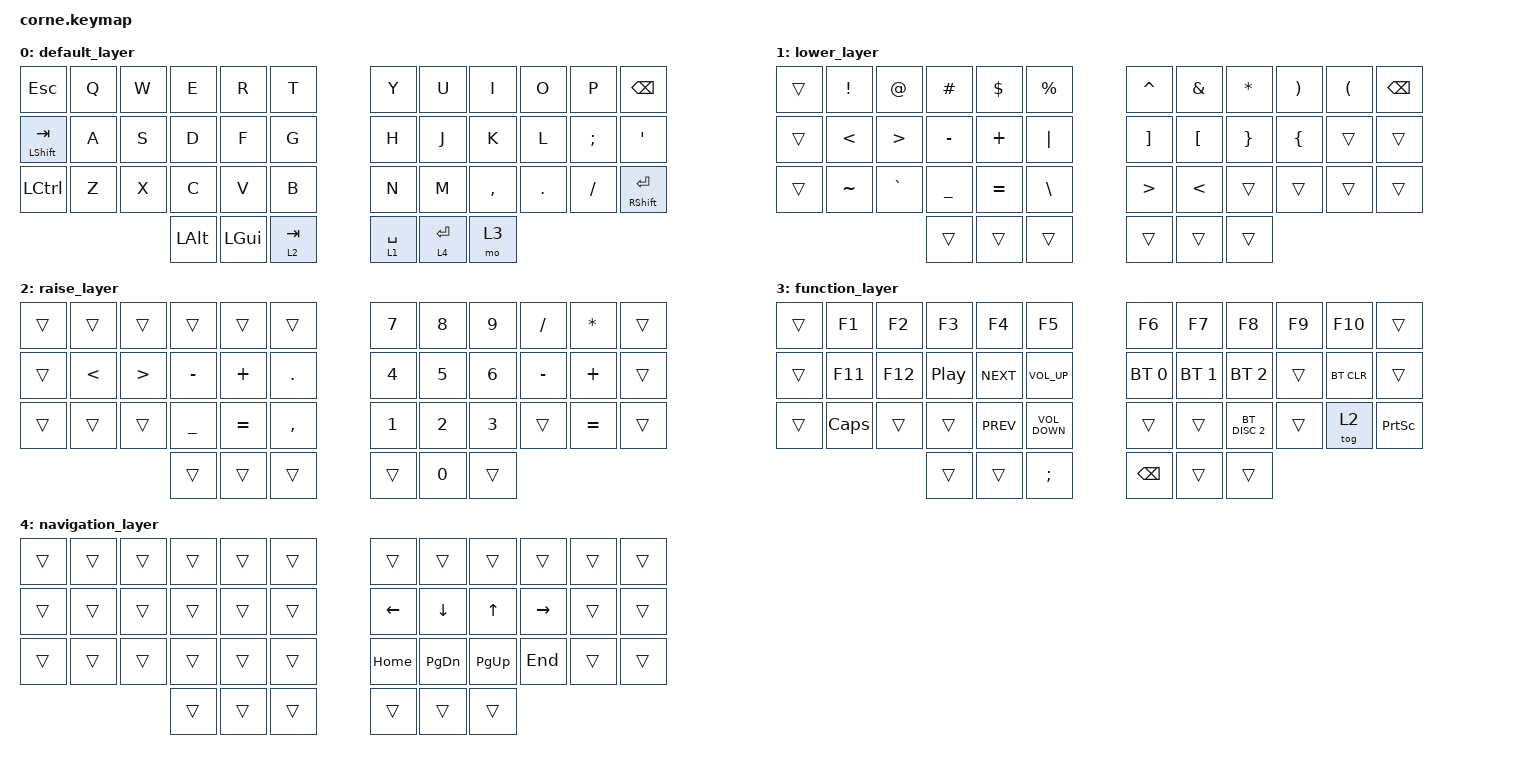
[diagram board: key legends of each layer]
/*
 * Copyright 2024 Michał Minarowski (@n3oney)
 * 
 * Originally created for QMK by Mark Stosberg (@markstos)
 * 
 * SPDX-License-Identifier: GPL-2.0-or-later
 */

#include <behaviors.dtsi>
#include <dt-bindings/zmk/bt.h>
#include <dt-bindings/zmk/keys.h>

&lt { tapping-term-ms = <150>; };

/ {
    combos {
        compatible = "zmk,combos";

        jk_escape {
            bindings = <&kp ESCAPE>;
            key-positions = <19 20>;
        };

        drop_term {
            bindings = <&kp LG(MINUS)>;
            key-positions = <16 15>;
        };
    };

    behaviors {
        quote_alt: quote_alt {
            compatible = "zmk,behavior-hold-tap";
            label = "QUOTE_ALT";
            bindings = <&kp>, <&kp>;

            #binding-cells = <2>;
            flavor = "tap-unless-interrupted";
            tapping-term-ms = <150>;
        };
    };

    keymap {
        compatible = "zmk,keymap";

        default_layer {
            bindings = <
&kp ESCAPE     &kp Q  &kp W  &kp E     &kp R         &kp T        &kp Y        &kp U        &kp I      &kp O    &kp P     &kp BACKSPACE
&mt LSHFT TAB  &kp A  &kp S  &kp D     &kp F         &kp G        &kp H        &kp J        &kp K      &kp L    &kp SEMI  &kp SINGLE_QUOTE
&kp LCTRL      &kp Z  &kp X  &kp C     &kp V         &kp B        &kp N        &kp M        &kp COMMA  &kp DOT  &kp FSLH  &mt RIGHT_SHIFT ENTER
                             &kp LALT  &kp LEFT_GUI  &lt 2 TAB    &lt 1 SPACE  &lt 4 ENTER  &mo 3
            >;
        };

        lower_layer {
            bindings = <
&trans  &kp EXCLAMATION  &kp AT_SIGN       &kp POUND  &kp DOLLAR  &kp PERCENT      &kp CARET          &kp AMPERSAND     &kp ASTERISK     &kp RIGHT_PARENTHESIS  &kp LEFT_PARENTHESIS  &kp BSPC
&trans  &kp LESS_THAN    &kp GREATER_THAN  &kp MINUS  &kp PLUS    &kp PIPE         &kp RIGHT_BRACKET  &kp LEFT_BRACKET  &kp RIGHT_BRACE  &kp LEFT_BRACE         &trans                &trans
&trans  &kp TILDE        &kp GRAVE         &kp UNDER  &kp EQUAL   &kp BACKSLASH    &kp GREATER_THAN   &kp LESS_THAN     &trans           &trans                 &trans                &trans
                                           &trans     &trans      &trans           &trans             &trans            &trans
            >;
        };

        raise_layer {
            bindings = <
&trans  &trans         &trans            &trans          &trans     &trans       &kp N7        &kp N8        &kp N9        &kp SLASH  &kp ASTERISK  &trans
&trans  &kp LESS_THAN  &kp GREATER_THAN  &kp MINUS       &kp PLUS   &kp DOT      &kp NUMBER_4  &kp N5        &kp NUMBER_6  &kp MINUS  &kp PLUS      &trans
&trans  &trans         &trans            &kp UNDERSCORE  &kp EQUAL  &kp COMMA    &kp NUMBER_1  &kp NUMBER_2  &kp NUMBER_3  &trans     &kp EQUAL     &trans
                                         &trans          &trans     &trans       &trans        &kp N0        &trans
            >;
        };

        function_layer {
            bindings = <
&trans  &kp F1    &kp F2   &kp F3            &kp F4      &kp F5               &kp F6         &kp F7        &kp F8         &kp F9  &kp F10     &trans
&trans  &kp F11   &kp F12  &kp C_PLAY_PAUSE  &kp C_NEXT  &kp C_VOLUME_UP      &bt BT_SEL 0   &bt BT_SEL 1  &bt BT_SEL 2   &trans  &bt BT_CLR  &trans
&trans  &kp CAPS  &trans   &trans            &kp C_PREV  &kp C_VOLUME_DOWN    &trans         &trans        &bt BT_DISC 2  &trans  &tog 2      &kp PRINTSCREEN
                           &trans            &trans      &kp SEMI             &kp BACKSPACE  &trans        &trans
            >;
        };

        navigation_layer {
            bindings = <
&trans  &trans  &trans  &trans  &trans  &trans    &trans    &trans     &trans     &trans     &trans  &trans
&trans  &trans  &trans  &trans  &trans  &trans    &kp LEFT  &kp DOWN   &kp UP     &kp RIGHT  &trans  &trans
&trans  &trans  &trans  &trans  &trans  &trans    &kp HOME  &kp PG_DN  &kp PG_UP  &kp END    &trans  &trans
                        &trans  &trans  &trans    &trans    &trans     &trans
            >;
        };
    };
};
